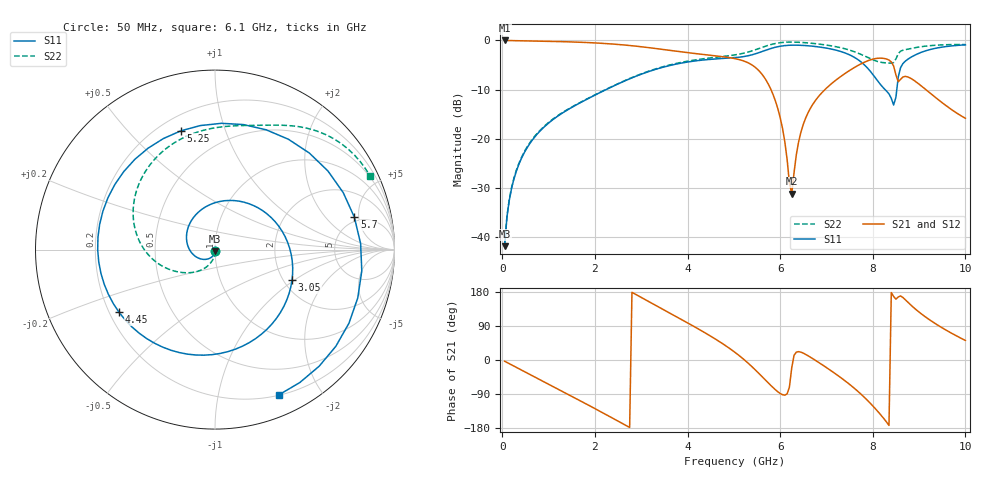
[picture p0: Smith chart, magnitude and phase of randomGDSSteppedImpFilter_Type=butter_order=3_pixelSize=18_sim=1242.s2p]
! freq	dB(S11)	phase(S11)	dB(S12)	phase(S12)
!  dB(S21)	phase(S21)	dB(S22)	phase(S22)
!S-par simulation data
#  GHz  S  DB  R 50
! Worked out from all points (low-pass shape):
!   200 points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, 50 MHz to 10 GHz, reference 50 ohm
!   highest |S21| = -0.02 dB at 50 MHz (marker M1); lowest = -31.2 dB at 6.25 GHz (marker M2)
!   |S21| within 3 dB of the highest: start of sweep to 4.479 GHz
!   lowest |S11| = -41.9 dB at 50 MHz (marker M3), VSWR 1.02, Z = 50.1 - j0.798 ohm
!   |S11| at or under -10 dB: start of sweep to 2.243 GHz; 8.264 GHz to 8.519 GHz (254.8 MHz wide, 3.04 % of centre)
!   |S22| runs from -41.7 to -0.4 dB; largest |S21 - S12| = 0
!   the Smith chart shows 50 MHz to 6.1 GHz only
!   S11 on the Smith chart (normalised r, x): 50 MHz: 1.00, -0.02; 3.05 GHz: 2.22, -0.96; 4.45 GHz: 0.24, -0.28; 5.25 GHz: 0.28, +0.71; 5.7 GHz: 4.40, +4.37; 6.1 GHz: 0.20, -1.51
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0.05  -41.85 -80.1  -0.02 -3.2  -0.02 -3.2  -41.72 -77.8
0.2  -30.13 -103.8  -0.04 -12.8  -0.04 -12.8  -29.94 -93.7
0.5  -22.42 -134.0  -0.09 -31.8  -0.09 -31.8  -22.24 -108.0
1.75  -12.35 104.2  -0.41 -111.9  -0.41 -111.9  -12.29 -149.5
2.45  -9.07 34.3  -0.80 -158.0  -0.80 -158.0  -9.02 -171.8
3.05  -6.71 -21.7  -1.35 161.8  -1.35 161.8  -6.64 164.2
3.4  -5.65 -52.6  -1.76 138.4  -1.76 138.4  -5.55 148.5
4.45  -3.90 -146.9  -2.99 66.5  -2.99 66.5  -3.61 99.8
5.05  -3.49 139.4  -3.77 17.8  -3.77 17.8  -2.91 75.3
5.25  -3.24 106.0  -4.33 -2.0  -4.33 -2.0  -2.52 67.9
5.7  -1.97 13.1  -8.16 -55.2  -8.16 -55.2  -1.14 48.3
6.1  -1.07 -66.3  -20.57 -92.8  -20.57 -92.8  -0.39 25.2
6.25  -0.98 -91.2  -31.18 -20.6  -31.18 -20.6  -0.35 16.7
6.7  -1.19 -153.4  -13.08 3.9  -13.08 3.9  -0.61 -6.3
7.1  -1.76 157.0  -8.87 -28.3  -8.87 -28.3  -1.11 -24.5
7.5  -2.95 102.9  -6.12 -64.4  -6.12 -64.4  -1.99 -40.8
7.95  -6.33 19.0  -3.96 -114.6  -3.96 -114.6  -3.73 -52.2
8.35  -10.89 -106.4  -4.00 -172.7  -4.00 -172.7  -4.62 -48.6
8.55  -7.47 -124.4  -8.42 166.2  -8.42 166.2  -2.71 -41.4
8.75  -3.89 168.9  -7.42 153.3  -7.42 153.3  -1.80 -54.0
9.2  -1.96 94.3  -10.43 108.3  -10.43 108.3  -1.11 -70.7
10  -0.92 14.2  -15.85 51.6  -15.85 51.6  -0.85 -97.8
